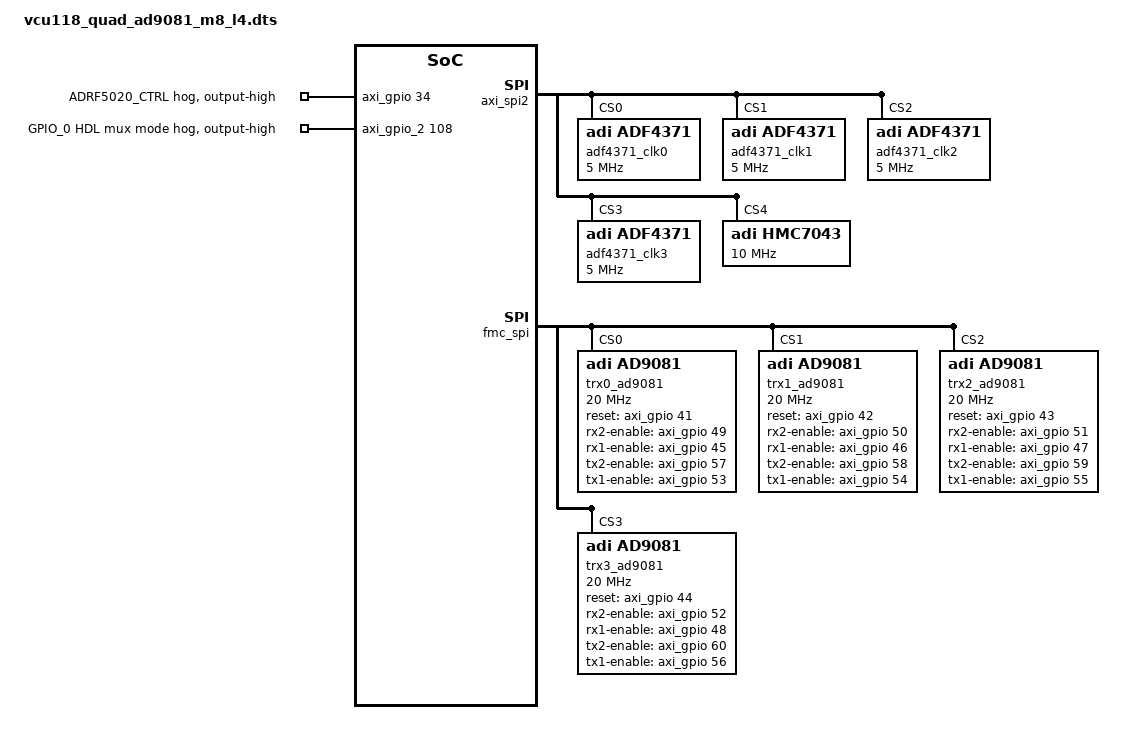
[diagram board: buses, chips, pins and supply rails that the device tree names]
// SPDX-License-Identifier: GPL-2.0
/*
 * dts file for QUAD AD9081-FMC-EBZ on Xilinx ZynqMP ZCU102 Rev 1.0
 *
 * Copyright (C) 2019 Analog Devices Inc.
 */

#include <dt-bindings/iio/frequency/hmc7044.h>
#include <dt-bindings/iio/adc/adi,ad9081.h>
#include <dt-bindings/gpio/gpio.h>

#include "vcu118_quad_ad9081.dtsi"

#define ADRF4360_RF16_FREQUENCY_HZ 12000000000
//#define ADRF4360_RF16_FREQUENCY_HZ 500000000

#define HMC7043_FPGA_XCVR_CLKDIV		1
#define HMC7043_FPGA_LINK_CLKDIV		2
#define HMC7043_SYSREF_CLKDIV			256
#define HMC7043_SYSREF_TIMER			(HMC7043_SYSREF_CLKDIV * 4)


#define AD9081_DAC_FREQUENCY 			ADRF4360_RF16_FREQUENCY_HZ
#define AD9081_ADC_FREQUENCY			4000000000

 /* TX path */
#define AD9081_TX_MAIN_INTERPOLATION	6
#define AD9081_TX_CHAN_INTERPOLATION	8
#define AD9081_TX_MAIN_NCO_SHIFT		2800000000
#define AD9081_TX_CHAN_NCO_SHIFT		0

#define AD9081_GAIN						2048

#define AD9081_TX_JESD_MODE				9
#define AD9081_TX_JESD_SUBCLASS			1
#define AD9081_TX_JESD_VERSION			1
#define AD9081_TX_JESD_M				8
#define AD9081_TX_JESD_F				4
#define AD9081_TX_JESD_K				32
#define AD9081_TX_JESD_N				16
#define AD9081_TX_JESD_NP				16
#define AD9081_TX_JESD_CS				0
#define AD9081_TX_JESD_L				4
#define AD9081_TX_JESD_S				1
#define AD9081_TX_JESD_HD				1

/* RX path */
#define AD9081_RX_MAIN_DECIMATION		4
#define AD9081_RX_CHAN_DECIMATION		4
#define AD9081_RX_MAIN_NCO_SHIFT		1000000000
#define AD9081_RX_CHAN_NCO_SHIFT		0

#define AD9081_RX_JESD_MODE				10
#define AD9081_RX_JESD_SUBCLASS			1
#define AD9081_RX_JESD_VERSION			1
#define AD9081_RX_JESD_M				8
#define AD9081_RX_JESD_F				4
#define AD9081_RX_JESD_K				32
#define AD9081_RX_JESD_N				16
#define AD9081_RX_JESD_NP				16
#define AD9081_RX_JESD_CS				0
#define AD9081_RX_JESD_L				4
#define AD9081_RX_JESD_S				1
#define AD9081_RX_JESD_HD				1

/* Interface */

#define AD9081_SPI_MAX_SPEED_HZ			20000000

/ {
	clocks {
		clkin_j41: clock@0 {
			#clock-cells = <0>;
			compatible = "fixed-clock";
			clock-frequency = <500000000>;
			clock-output-names = "refclk_j41";
		};
	};
};

&axi_gpio {
	adrf5020_ctrl {
		gpio-hog;
		gpios = <34 GPIO_ACTIVE_HIGH>;
		output-high; /* output-low for the RF2 <-> clk-rfaux8 output */
		line-name = "ADRF5020_CTRL";
	};
};

&axi_gpio_2 {
	ad9081_gpio0_mux {
		gpio-hog;
		gpios = <108 GPIO_ACTIVE_HIGH>;
		output-high; /* output-high gpio_mode - connect GPIO_0 of MxFE3 (output) to GPIO_0 of MxFE0,1,2 (input) */
		line-name = "GPIO_0 HDL mux mode";
	};
};

&axi_ad9081_rx_jesd {
	adi,octets-per-frame = <AD9081_RX_JESD_F>;
	adi,frames-per-multiframe = <AD9081_RX_JESD_K>;
};

&axi_ad9081_tx_jesd {
	adi,converters-per-device = <32>;
	adi,octets-per-frame = <AD9081_TX_JESD_F>;
	adi,frames-per-multiframe = <AD9081_TX_JESD_K>;
	adi,converter-resolution = <AD9081_TX_JESD_N>;
	adi,bits-per-sample = <AD9081_TX_JESD_NP>;
	adi,control-bits-per-sample = <AD9081_TX_JESD_CS>;
};

&rx_dma {
	adi,channels {
		dma-channel@0 {
			reg = <0>;
			adi,source-bus-width = <512>; /* Needs to be 32 * JESD_L */
			adi,source-bus-type = <2>;
			adi,destination-bus-width = <512>;  /* Needs to be 32 * JESD_L */
			adi,destination-bus-type = <0>;
		};
	};
};

&tx_dma {
	adi,channels {
		dma-channel@0 {
			reg = <0>;
			adi,source-bus-width = <512>; /* Needs to be 32 * JESD_L */
			adi,source-bus-type = <0>;
			adi,destination-bus-width = <512>; /* Needs to be 32 * JESD_L */
			adi,destination-bus-type = <2>;
		};
	};
};

&axi_spi2 {

	adf4371_clk0: adf4371-0@0 {
		compatible = "adi,adf4371";
		reg = <0>;

		#address-cells = <1>;
		#clock-cells = <1>;
		#size-cells = <0>;

		spi-max-frequency = <5000000>;
		adi,spi-3wire-enable;
		adi,muxout-select = <1>;
		clocks = <&clkin_j41>;
		clock-names = "clkin";
		clock-output-names = "pll0-clk-rf8", "pll0-clk-rfaux8",
			"pll0-clk-rf16", "pll0-clk-rf32";

		channel@2 {
			reg = <2>;
			adi,power-up-frequency = /bits/ 64 <ADRF4360_RF16_FREQUENCY_HZ>;
		};
	};

	adf4371_clk1: adf4371-1@1 {
		compatible = "adi,adf4371";
		reg = <1>;

		#address-cells = <1>;
		#clock-cells = <1>;
		#size-cells = <0>;

		spi-max-frequency = <5000000>;
		adi,spi-3wire-enable;
		adi,muxout-select = <1>;
		clocks = <&clkin_j41>;
		clock-names = "clkin";
		clock-output-names = "pll1-clk-rf8", "pll1-clk-rfaux8",
			"pll1-clk-rf16", "pll1-clk-rf32";

		channel@2 {
			reg = <2>;
			adi,power-up-frequency = /bits/ 64 <ADRF4360_RF16_FREQUENCY_HZ>;
		};
	};

	adf4371_clk2: adf4371-2@2 {
		compatible = "adi,adf4371";
		reg = <2>;

		#address-cells = <1>;
		#clock-cells = <1>;
		#size-cells = <0>;

		spi-max-frequency = <5000000>;
		adi,spi-3wire-enable;
		adi,muxout-select = <1>;
		clocks = <&clkin_j41>;
		clock-names = "clkin";
		clock-output-names = "pll2-clk-rf8", "pll2-clk-rfaux8",
			"pll2-clk-rf16", "pll2-clk-rf32";

		channel@2 {
			reg = <2>;
			adi,power-up-frequency = /bits/ 64 <ADRF4360_RF16_FREQUENCY_HZ>;
		};
	};

	adf4371_clk3: adf4371-3@3 {
		compatible = "adi,adf4371";
		reg = <3>;

		#address-cells = <1>;
		#clock-cells = <1>;
		#size-cells = <0>;

		spi-max-frequency = <5000000>;
		adi,spi-3wire-enable;
		adi,muxout-select = <1>;
		clocks = <&clkin_j41>;
		clock-names = "clkin";
		clock-output-names = "pll3-clk-rf8", "pll3-clk-rfaux8",
			"pll3-clk-rf16", "pll3-clk-rf32";

		channel@2 {
			reg = <2>;
			adi,power-up-frequency = /bits/ 64 <ADRF4360_RF16_FREQUENCY_HZ>;
		};
	};

	hmc7043: hmc7043@4 {
		#address-cells = <1>;
		#size-cells = <0>;
		#clock-cells = <1>;
		compatible = "adi,hmc7043";
		reg = <4>;
		spi-max-frequency = <10000000>;

		clocks = <&clkin_j41>;
		clock-names = "clkin0";

		adi,sysref-timer-divider = <HMC7043_SYSREF_TIMER>;
		adi,pulse-generator-mode = <HMC7044_PULSE_GEN_CONT_PULSE>;

		adi,rf-reseeder-disable;

		adi,clkin0-buffer-mode  = <0x07>; /* RFSYNC */
		adi,clkin1-buffer-mode  = <0x07>; /* CLKIN 500 MHz */

		adi,gpi-controls = <0x00>;
		adi,gpo-controls = <0x37>;

		clock-output-names =
			"hmc7043_out0", "hmc7043_out1", "hmc7043_out2",
			"hmc7043_out3", "hmc7043_out4", "hmc7043_out5",
			"hmc7043_out6", "hmc7043_out7", "hmc7043_out8",
			"hmc7043_out9", "hmc7043_out10", "hmc7043_out11",
			"hmc7043_out12", "hmc7043_out13";

		hmc7043_c0: channel@0 {
			reg = <0>;
			adi,extended-name = "FPGA_REFCLK";
			adi,divider = <HMC7043_FPGA_XCVR_CLKDIV>;
			adi,driver-mode = <HMC7044_DRIVER_MODE_LVDS>;
		};

		hmc7043_c8: channel@8 {
			reg = <8>;
			adi,extended-name = "CORE_LINK_CLK";
			adi,divider = <HMC7043_FPGA_LINK_CLKDIV>;
			adi,driver-mode = <HMC7044_DRIVER_MODE_LVDS>;
		};

		hmc7043_c1: channel@1 {
			reg = <1>;
			adi,extended-name = "SYSREF_MXFE0";
			adi,divider = <HMC7043_SYSREF_CLKDIV>;
			adi,driver-mode = <HMC7044_DRIVER_MODE_LVDS>;
			adi,startup-mode-dynamic-enable;
			adi,high-performance-mode-disable;

			adi,coarse-digital-delay = <0>;
			adi,fine-analog-delay = <24>; /* max analog */
			adi,output-mux-mode = <1>;
		};

		hmc7043_c3: channel@3 {
			reg = <3>;
			adi,extended-name = "SYSREF_MXFE1";
			adi,divider = <HMC7043_SYSREF_CLKDIV>;
			adi,driver-mode = <HMC7044_DRIVER_MODE_LVDS>;
			adi,startup-mode-dynamic-enable;
			adi,high-performance-mode-disable;

			adi,coarse-digital-delay = <1>; /* 1 ns */
			adi,fine-analog-delay = <0>;
			adi,output-mux-mode = <0>;
		};

		hmc7043_c5: channel@5 {
			reg = <5>;
			adi,extended-name = "SYSREF_MXFE2";
			adi,divider = <HMC7043_SYSREF_CLKDIV>;
			adi,driver-mode = <HMC7044_DRIVER_MODE_LVDS>;
			adi,startup-mode-dynamic-enable;
			adi,high-performance-mode-disable;

			adi,coarse-digital-delay = <0>;
			adi,fine-analog-delay = <16>;
			adi,output-mux-mode = <1>;
		};

		hmc7043_c7: channel@7 {
			reg = <7>;
			adi,extended-name = "SYSREF_MXFE3";
			adi,divider = <HMC7043_SYSREF_CLKDIV>;
			adi,driver-mode = <HMC7044_DRIVER_MODE_LVDS>;
			adi,startup-mode-dynamic-enable;
			adi,high-performance-mode-disable;

			adi,coarse-digital-delay = <0>;
			adi,fine-analog-delay = <0>;
			adi,output-mux-mode = <0>;
		};

		hmc7043_c9: channel@9 {
			reg = <9>;
			adi,extended-name = "SYSREF_FPGA";
			adi,divider = <HMC7043_SYSREF_CLKDIV>;
			adi,driver-mode = <HMC7044_DRIVER_MODE_LVDS>;
			adi,startup-mode-dynamic-enable;
			adi,high-performance-mode-disable;
		};
	};
};

&fmc_spi {

	trx0_ad9081: axi-ad9081-rx-0@0 {
		#address-cells = <1>;
		#size-cells = <0>;
		compatible = "adi,ad9081";
		reg = <0>;
		spi-max-frequency = <AD9081_SPI_MAX_SPEED_HZ>;

		/* Clocks */
		clocks =
			<&adf4371_clk0 2>, <&hmc7043 8>, <&hmc7043 1>, <&hmc7043 9>;

		clock-names =
			"dev_clk", "fmc_clk", "sysref_dev_clk",
			"sysref_fmc_clk";

		clock-output-names = "rx_sampl_clk", "tx_sampl_clk";
		#clock-cells = <1>;
		dev_clk-clock-scales = <1 10>;

		adi,jesd-sync-pins-01-swap-enable;
		//adi,lmfc-delay-dac-clk-cycles = <14>;

		adi,tx-dacs {
			#size-cells = <0>;
			#address-cells = <1>;

			adi,dac-frequency-hz = /bits/ 64 <AD9081_DAC_FREQUENCY>;

			adi,main-data-paths {
				#address-cells = <1>;
				#size-cells = <0>;

				adi,interpolation = <AD9081_TX_MAIN_INTERPOLATION>;

				trx0_ad9081_dac0: dac@0 {
					reg = <0>;
					adi,crossbar-select = <&trx0_ad9081_tx_fddc_chan0>;
					adi,nco-frequency-shift-hz = /bits/ 64 <AD9081_TX_MAIN_NCO_SHIFT>; /* 100 MHz */
				};
				trx0_ad9081_dac1: dac@1 {
					reg = <1>;
					adi,crossbar-select = <&trx0_ad9081_tx_fddc_chan1>;
					adi,nco-frequency-shift-hz = /bits/ 64 <AD9081_TX_MAIN_NCO_SHIFT>; /* 200 MHz */
				};
				trx0_ad9081_dac2: dac@2 {
					reg = <2>;
					adi,crossbar-select = <&trx0_ad9081_tx_fddc_chan2>; /* All 4 channels @ dac2 */
					adi,nco-frequency-shift-hz = /bits/ 64 <AD9081_TX_MAIN_NCO_SHIFT>;  /* 300 MHz */
				};
				trx0_ad9081_dac3: dac@3 {
					reg = <3>;
					adi,crossbar-select = <&trx0_ad9081_tx_fddc_chan3>; /* All 4 channels @ dac2 */
					adi,nco-frequency-shift-hz = /bits/ 64 <AD9081_TX_MAIN_NCO_SHIFT>; /* 400 MHz */
				};
			};

			adi,channelizer-paths {
				#address-cells = <1>;
				#size-cells = <0>;
				adi,interpolation = <AD9081_TX_CHAN_INTERPOLATION>;

				trx0_ad9081_tx_fddc_chan0: channel@0 {
					reg = <0>;
					adi,gain = <AD9081_GAIN>; /* value * 10^(gain_dB/20) */
					adi,nco-frequency-shift-hz =  /bits/ 64 <AD9081_TX_CHAN_NCO_SHIFT>;

				};
				trx0_ad9081_tx_fddc_chan1: channel@1 {
					reg = <1>;
					adi,gain = <AD9081_GAIN>; /* value * 10^(gain_dB/20) */
					adi,nco-frequency-shift-hz =  /bits/ 64 <AD9081_TX_CHAN_NCO_SHIFT>;

				};
				trx0_ad9081_tx_fddc_chan2: channel@2 {
					reg = <2>;
					adi,gain = <AD9081_GAIN>; /* value * 10^(gain_dB/20) */
					adi,nco-frequency-shift-hz =  /bits/ 64 <AD9081_TX_CHAN_NCO_SHIFT>;

				};
				trx0_ad9081_tx_fddc_chan3: channel@3 {
					reg = <3>;
					adi,gain = <AD9081_GAIN>; /* value * 10^(gain_dB/20) */
					adi,nco-frequency-shift-hz =  /bits/ 64 <AD9081_TX_CHAN_NCO_SHIFT>;

				};

			};

			adi,jesd-links {
				#size-cells = <0>;
				#address-cells = <1>;

				trx0_ad9081_tx_jesd_l0: link@0 {
					#address-cells = <1>;
					#size-cells = <0>;
					reg = <0>;

					adi,logical-lane-mapping = /bits/ 8 <0 1 2 3 4 5 6 7>;

					adi,link-mode = <AD9081_TX_JESD_MODE>;			/* JESD Quick Configuration Mode */
					adi,subclass = <AD9081_TX_JESD_SUBCLASS>;			/* JESD SUBCLASS 0,1,2 */
					adi,version = <AD9081_TX_JESD_VERSION>;			/* JESD VERSION 0=204A,1=204B,2=204C */
					adi,dual-link = <0>;			/* JESD Dual Link Mode */

					adi,converters-per-device = <AD9081_TX_JESD_M>;	/* JESD M */
					adi,octets-per-frame = <AD9081_TX_JESD_F>;		/* JESD F */

					adi,frames-per-multiframe = <AD9081_TX_JESD_K>;	/* JESD K */
					adi,converter-resolution = <AD9081_TX_JESD_N>;	/* JESD N */
					adi,bits-per-sample = <AD9081_TX_JESD_N>;		/* JESD NP' */
					adi,control-bits-per-sample = <AD9081_TX_JESD_CS>;	/* JESD CS */
					adi,lanes-per-device = <AD9081_TX_JESD_L>;		/* JESD L */
					adi,samples-per-converter-per-frame = <AD9081_TX_JESD_S>; /* JESD S */
					adi,high-density = <AD9081_TX_JESD_HD>;			/* JESD HD */
				};
			};
		};

		adi,rx-adcs {
			#size-cells = <0>;
			#address-cells = <1>;

			adi,adc-frequency-hz = /bits/ 64 <AD9081_ADC_FREQUENCY>;
			adi,nyquist-zone = <AD9081_ADC_NYQUIST_ZONE_EVEN>;

			adi,main-data-paths {
				#address-cells = <1>;
				#size-cells = <0>;


				trx0_ad9081_adc0: adc@0 {
					reg = <0>;
					adi,decimation = <AD9081_RX_MAIN_DECIMATION>;
					adi,nco-frequency-shift-hz =  /bits/ 64 <AD9081_RX_MAIN_NCO_SHIFT>;
					adi,nco-mode = <AD9081_ADC_NCO_VIF>;
					//adi,crossbar-select = <&trx0_ad9081_rx_fddc_chan0>, <&trx0_ad9081_rx_fddc_chan2>; /* Static for now */
				};
				trx0_ad9081_adc1: adc@1 {
					reg = <1>;
					adi,decimation = <AD9081_RX_MAIN_DECIMATION>;
					adi,nco-frequency-shift-hz =  /bits/ 64 <(AD9081_RX_MAIN_NCO_SHIFT)>;
					adi,nco-mode = <AD9081_ADC_NCO_VIF>;
					//adi,crossbar-select = <&trx0_ad9081_rx_fddc_chan1>, <&trx0_ad9081_rx_fddc_chan3>; /* Static for now */
				};
				trx0_ad9081_adc2: adc@2 {
					reg = <2>;
					adi,decimation = <AD9081_RX_MAIN_DECIMATION>;
					adi,nco-frequency-shift-hz =  /bits/ 64 <AD9081_RX_MAIN_NCO_SHIFT>;
					adi,nco-mode = <AD9081_ADC_NCO_VIF>;
					//adi,crossbar-select = <&trx0_ad9081_rx_fddc_chan4>, <&trx0_ad9081_rx_fddc_chan6>; /* Static for now */
				};
				trx0_ad9081_adc3: adc@3 {
					reg = <3>;
					adi,decimation = <AD9081_RX_MAIN_DECIMATION>;
					adi,nco-frequency-shift-hz =  /bits/ 64 <AD9081_RX_MAIN_NCO_SHIFT>;
					adi,nco-mode = <AD9081_ADC_NCO_VIF>;
					//adi,crossbar-select = <&trx0_ad9081_rx_fddc_chan5>, <&trx0_ad9081_rx_fddc_chan7>; /* Static for now */
				};
			};

			adi,channelizer-paths {
				#address-cells = <1>;
				#size-cells = <0>;


				trx0_ad9081_rx_fddc_chan0: channel@0 {
					reg = <0>;
					adi,decimation = <AD9081_RX_CHAN_DECIMATION>;
					adi,gain = <AD9081_GAIN>; /* value * 10^(gain_dB/20) */
					adi,nco-frequency-shift-hz =  /bits/ 64 <AD9081_RX_CHAN_NCO_SHIFT>;

				};
				trx0_ad9081_rx_fddc_chan1: channel@1 {
					reg = <1>;
					adi,decimation = <AD9081_RX_CHAN_DECIMATION>;
					adi,gain = <AD9081_GAIN>; /* value * 10^(gain_dB/20) */
					adi,nco-frequency-shift-hz =  /bits/ 64 <AD9081_RX_CHAN_NCO_SHIFT>;

				};
				trx0_ad9081_rx_fddc_chan4: channel@4 {
					reg = <4>;
					adi,decimation = <AD9081_RX_CHAN_DECIMATION>;
					adi,gain = <AD9081_GAIN>; /* value * 10^(gain_dB/20) */
					adi,nco-frequency-shift-hz =  /bits/ 64 <AD9081_RX_CHAN_NCO_SHIFT>;

				};
				trx0_ad9081_rx_fddc_chan5: channel@5 {
					reg = <5>;
					adi,decimation = <AD9081_RX_CHAN_DECIMATION>;
					adi,gain = <AD9081_GAIN>; /* value * 10^(gain_dB/20) */
					adi,nco-frequency-shift-hz =  /bits/ 64 <AD9081_RX_CHAN_NCO_SHIFT>;

				};
			};

			adi,jesd-links {
				#size-cells = <0>;
				#address-cells = <1>;

				trx0_ad9081_rx_jesd_l0: link@0 {
					reg = <0>;
					adi,converter-select =
						<&trx0_ad9081_rx_fddc_chan0 FDDC_I>, <&trx0_ad9081_rx_fddc_chan0 FDDC_Q>,
						<&trx0_ad9081_rx_fddc_chan1 FDDC_I>, <&trx0_ad9081_rx_fddc_chan1 FDDC_Q>,
						<&trx0_ad9081_rx_fddc_chan4 FDDC_I>, <&trx0_ad9081_rx_fddc_chan4 FDDC_Q>,
						<&trx0_ad9081_rx_fddc_chan5 FDDC_I>, <&trx0_ad9081_rx_fddc_chan5 FDDC_Q>;

					adi,logical-lane-mapping = /bits/ 8 <0 1 2 3 4 5 6 7>;

					adi,link-mode = <AD9081_RX_JESD_MODE>;			/* JESD Quick Configuration Mode */
					adi,subclass = <AD9081_RX_JESD_SUBCLASS>;			/* JESD SUBCLASS 0,1,2 */
					adi,version = <AD9081_RX_JESD_VERSION>;			/* JESD VERSION 0=204A,1=204B,2=204C */
					adi,dual-link = <0>;			/* JESD Dual Link Mode */
					adi,device-id = <0>;

					adi,converters-per-device = <AD9081_RX_JESD_M>;	/* JESD M */
					adi,octets-per-frame = <AD9081_RX_JESD_F>;		/* JESD F */

					adi,frames-per-multiframe = <AD9081_RX_JESD_K>;	/* JESD K */
					adi,converter-resolution = <AD9081_RX_JESD_N>;	/* JESD N */
					adi,bits-per-sample = <AD9081_RX_JESD_NP>;		/* JESD NP' */
					adi,control-bits-per-sample = <AD9081_RX_JESD_CS>;	/* JESD CS */
					adi,lanes-per-device = <AD9081_RX_JESD_L>;		/* JESD L */
					adi,samples-per-converter-per-frame = <AD9081_RX_JESD_S>; /* JESD S */
					adi,high-density = <AD9081_RX_JESD_HD>;			/* JESD HD */
				};
			};
		};
	};

	trx1_ad9081: axi-ad9081-rx-1@1 {
		#address-cells = <1>;
		#size-cells = <0>;
		compatible = "adi,ad9081";
		reg = <1>;
		spi-max-frequency = <AD9081_SPI_MAX_SPEED_HZ>;

		/* Clocks */
		clocks =
			<&adf4371_clk1 2>, <&hmc7043 8>, <&hmc7043 1>, <&hmc7043 9>;

		clock-names =
			"dev_clk", "fmc_clk", "sysref_dev_clk",
			"sysref_fmc_clk";

		clock-output-names = "rx_sampl_clk", "tx_sampl_clk";
		#clock-cells = <1>;
		dev_clk-clock-scales = <1 10>;

		adi,jesd-sync-pins-01-swap-enable;
		//adi,lmfc-delay-dac-clk-cycles = <16>;

		adi,tx-dacs {
			#size-cells = <0>;
			#address-cells = <1>;

			adi,dac-frequency-hz = /bits/ 64 <AD9081_DAC_FREQUENCY>;

			adi,main-data-paths {
				#address-cells = <1>;
				#size-cells = <0>;

				adi,interpolation = <AD9081_TX_MAIN_INTERPOLATION>;

				trx1_ad9081_dac0: dac@0 {
					reg = <0>;
					adi,crossbar-select = <&trx1_ad9081_tx_fddc_chan0>;
					adi,nco-frequency-shift-hz = /bits/ 64 <AD9081_TX_MAIN_NCO_SHIFT>; /* 100 MHz */
				};
				trx1_ad9081_dac1: dac@1 {
					reg = <1>;
					adi,crossbar-select = <&trx1_ad9081_tx_fddc_chan1>;
					adi,nco-frequency-shift-hz = /bits/ 64 <AD9081_TX_MAIN_NCO_SHIFT>; /* 200 MHz */
				};
				trx1_ad9081_dac2: dac@2 {
					reg = <2>;
					adi,crossbar-select = <&trx1_ad9081_tx_fddc_chan2>; /* All 4 channels @ dac2 */
					adi,nco-frequency-shift-hz = /bits/ 64 <AD9081_TX_MAIN_NCO_SHIFT>;  /* 300 MHz */
				};
				trx1_ad9081_dac3: dac@3 {
					reg = <3>;
					adi,crossbar-select = <&trx1_ad9081_tx_fddc_chan3>; /* All 4 channels @ dac2 */
					adi,nco-frequency-shift-hz = /bits/ 64 <AD9081_TX_MAIN_NCO_SHIFT>; /* 400 MHz */
				};
			};

			adi,channelizer-paths {
				#address-cells = <1>;
				#size-cells = <0>;
				adi,interpolation = <AD9081_TX_CHAN_INTERPOLATION>;

				trx1_ad9081_tx_fddc_chan0: channel@0 {
					reg = <0>;
					adi,gain = <AD9081_GAIN>; /* value * 10^(gain_dB/20) */
					adi,nco-frequency-shift-hz =  /bits/ 64 <AD9081_TX_CHAN_NCO_SHIFT>;

				};
				trx1_ad9081_tx_fddc_chan1: channel@1 {
					reg = <1>;
					adi,gain = <AD9081_GAIN>; /* value * 10^(gain_dB/20) */
					adi,nco-frequency-shift-hz =  /bits/ 64 <AD9081_TX_CHAN_NCO_SHIFT>;

				};
				trx1_ad9081_tx_fddc_chan2: channel@2 {
					reg = <2>;
					adi,gain = <AD9081_GAIN>; /* value * 10^(gain_dB/20) */
					adi,nco-frequency-shift-hz =  /bits/ 64 <AD9081_TX_CHAN_NCO_SHIFT>;

				};
				trx1_ad9081_tx_fddc_chan3: channel@3 {
					reg = <3>;
					adi,gain = <AD9081_GAIN>; /* value * 10^(gain_dB/20) */
					adi,nco-frequency-shift-hz =  /bits/ 64 <AD9081_TX_CHAN_NCO_SHIFT>;

				};

			};

			adi,jesd-links {
				#size-cells = <0>;
				#address-cells = <1>;

				trx1_ad9081_tx_jesd_l0: link@0 {
					#address-cells = <1>;
					#size-cells = <0>;
					reg = <0>;

					adi,logical-lane-mapping = /bits/ 8 <0 1 2 3 4 5 6 7>;

					adi,link-mode = <AD9081_TX_JESD_MODE>;			/* JESD Quick Configuration Mode */
					adi,subclass = <AD9081_TX_JESD_SUBCLASS>;			/* JESD SUBCLASS 0,1,2 */
					adi,version = <AD9081_TX_JESD_VERSION>;			/* JESD VERSION 0=204A,1=204B,2=204C */
					adi,dual-link = <0>;			/* JESD Dual Link Mode */

					adi,converters-per-device = <AD9081_TX_JESD_M>;	/* JESD M */
					adi,octets-per-frame = <AD9081_TX_JESD_F>;		/* JESD F */

					adi,frames-per-multiframe = <AD9081_TX_JESD_K>;	/* JESD K */
					adi,converter-resolution = <AD9081_TX_JESD_N>;	/* JESD N */
					adi,bits-per-sample = <AD9081_TX_JESD_N>;		/* JESD NP' */
					adi,control-bits-per-sample = <AD9081_TX_JESD_CS>;	/* JESD CS */
					adi,lanes-per-device = <AD9081_TX_JESD_L>;		/* JESD L */
					adi,samples-per-converter-per-frame = <AD9081_TX_JESD_S>; /* JESD S */
					adi,high-density = <AD9081_TX_JESD_HD>;			/* JESD HD */
				};
			};
		};

		adi,rx-adcs {
			#size-cells = <0>;
			#address-cells = <1>;

			adi,adc-frequency-hz = /bits/ 64 <AD9081_ADC_FREQUENCY>;
			adi,nyquist-zone = <AD9081_ADC_NYQUIST_ZONE_EVEN>;

			adi,main-data-paths {
				#address-cells = <1>;
				#size-cells = <0>;


				trx1_ad9081_adc0: adc@0 {
					reg = <0>;
					adi,decimation = <AD9081_RX_MAIN_DECIMATION>;
					adi,nco-frequency-shift-hz =  /bits/ 64 <AD9081_RX_MAIN_NCO_SHIFT>;
					adi,nco-mode = <AD9081_ADC_NCO_VIF>;
					//adi,crossbar-select = <&trx1_ad9081_rx_fddc_chan0>, <&trx1_ad9081_rx_fddc_chan2>; /* Static for now */
				};
				trx1_ad9081_adc1: adc@1 {
					reg = <1>;
					adi,decimation = <AD9081_RX_MAIN_DECIMATION>;
					adi,nco-frequency-shift-hz =  /bits/ 64 <AD9081_RX_MAIN_NCO_SHIFT>;
					adi,nco-mode = <AD9081_ADC_NCO_VIF>;
					//adi,crossbar-select = <&trx1_ad9081_rx_fddc_chan1>, <&trx1_ad9081_rx_fddc_chan3>; /* Static for now */
				};
				trx1_ad9081_adc2: adc@2 {
					reg = <2>;
					adi,decimation = <AD9081_RX_MAIN_DECIMATION>;
					adi,nco-frequency-shift-hz =  /bits/ 64 <AD9081_RX_MAIN_NCO_SHIFT>;
					adi,nco-mode = <AD9081_ADC_NCO_VIF>;
					//adi,crossbar-select = <&trx1_ad9081_rx_fddc_chan4>, <&trx1_ad9081_rx_fddc_chan6>; /* Static for now */
				};
				trx1_ad9081_adc3: adc@3 {
					reg = <3>;
					adi,decimation = <AD9081_RX_MAIN_DECIMATION>;
					adi,nco-frequency-shift-hz =  /bits/ 64 <AD9081_RX_MAIN_NCO_SHIFT>;
					adi,nco-mode = <AD9081_ADC_NCO_VIF>;
					//adi,crossbar-select = <&trx1_ad9081_rx_fddc_chan5>, <&trx1_ad9081_rx_fddc_chan7>; /* Static for now */
				};
			};

			adi,channelizer-paths {
				#address-cells = <1>;
				#size-cells = <0>;


				trx1_ad9081_rx_fddc_chan0: channel@0 {
					reg = <0>;
					adi,decimation = <AD9081_RX_CHAN_DECIMATION>;
					adi,gain = <AD9081_GAIN>; /* value * 10^(gain_dB/20) */
					adi,nco-frequency-shift-hz =  /bits/ 64 <AD9081_RX_CHAN_NCO_SHIFT>;

				};
				trx1_ad9081_rx_fddc_chan1: channel@1 {
					reg = <1>;
					adi,decimation = <AD9081_RX_CHAN_DECIMATION>;
					adi,gain = <AD9081_GAIN>; /* value * 10^(gain_dB/20) */
					adi,nco-frequency-shift-hz =  /bits/ 64 <AD9081_RX_CHAN_NCO_SHIFT>;

				};
				trx1_ad9081_rx_fddc_chan4: channel@4 {
					reg = <4>;
					adi,decimation = <AD9081_RX_CHAN_DECIMATION>;
					adi,gain = <AD9081_GAIN>; /* value * 10^(gain_dB/20) */
					adi,nco-frequency-shift-hz =  /bits/ 64 <AD9081_RX_CHAN_NCO_SHIFT>;

				};
				trx1_ad9081_rx_fddc_chan5: channel@5 {
					reg = <5>;
					adi,decimation = <AD9081_RX_CHAN_DECIMATION>;
					adi,gain = <AD9081_GAIN>; /* value * 10^(gain_dB/20) */
					adi,nco-frequency-shift-hz =  /bits/ 64 <AD9081_RX_CHAN_NCO_SHIFT>;

				};
			};

			adi,jesd-links {
				#size-cells = <0>;
				#address-cells = <1>;

				trx1_ad9081_rx_jesd_l0: link@0 {
					reg = <0>;
					adi,converter-select =
						<&trx1_ad9081_rx_fddc_chan0 FDDC_I>, <&trx1_ad9081_rx_fddc_chan0 FDDC_Q>,
						<&trx1_ad9081_rx_fddc_chan1 FDDC_I>, <&trx1_ad9081_rx_fddc_chan1 FDDC_Q>,
						<&trx1_ad9081_rx_fddc_chan4 FDDC_I>, <&trx1_ad9081_rx_fddc_chan4 FDDC_Q>,
						<&trx1_ad9081_rx_fddc_chan5 FDDC_I>, <&trx1_ad9081_rx_fddc_chan5 FDDC_Q>;

					adi,logical-lane-mapping = /bits/ 8 <0 1 2 3 4 5 6 7>;

					adi,link-mode = <AD9081_RX_JESD_MODE>;			/* JESD Quick Configuration Mode */
					adi,subclass = <AD9081_RX_JESD_SUBCLASS>;			/* JESD SUBCLASS 0,1,2 */
					adi,version = <AD9081_RX_JESD_VERSION>;			/* JESD VERSION 0=204A,1=204B,2=204C */
					adi,dual-link = <0>;			/* JESD Dual Link Mode */
					adi,device-id = <1>;

					adi,converters-per-device = <AD9081_RX_JESD_M>;	/* JESD M */
					adi,octets-per-frame = <AD9081_RX_JESD_F>;		/* JESD F */

					adi,frames-per-multiframe = <AD9081_RX_JESD_K>;	/* JESD K */
					adi,converter-resolution = <AD9081_RX_JESD_N>;	/* JESD N */
					adi,bits-per-sample = <AD9081_RX_JESD_NP>;		/* JESD NP' */
					adi,control-bits-per-sample = <AD9081_RX_JESD_CS>;	/* JESD CS */
					adi,lanes-per-device = <AD9081_RX_JESD_L>;		/* JESD L */
					adi,samples-per-converter-per-frame = <AD9081_RX_JESD_S>; /* JESD S */
					adi,high-density = <AD9081_RX_JESD_HD>;			/* JESD HD */
				};
			};
		};
	};

	trx2_ad9081: axi-ad9081-rx-2@2 {
		#address-cells = <1>;
		#size-cells = <0>;
		compatible = "adi,ad9081";
		reg = <2>;
		spi-max-frequency = <AD9081_SPI_MAX_SPEED_HZ>;

		/* Clocks */
		clocks = <&adf4371_clk2 2>, <&hmc7043 8>, <&hmc7043 1>, <&hmc7043 9>;

		clock-names = "dev_clk", "fmc_clk", "sysref_dev_clk",
			"sysref_fmc_clk";

		clock-output-names = "rx_sampl_clk", "tx_sampl_clk";
		#clock-cells = <1>;
		dev_clk-clock-scales = <1 10>;

		adi,jesd-sync-pins-01-swap-enable;
		//adi,lmfc-delay-dac-clk-cycles = <9>;

		adi,tx-dacs {
			#size-cells = <0>;
			#address-cells = <1>;

			adi,dac-frequency-hz = /bits/ 64 <AD9081_DAC_FREQUENCY>;

			adi,main-data-paths {
				#address-cells = <1>;
				#size-cells = <0>;

				adi,interpolation = <AD9081_TX_MAIN_INTERPOLATION>;

				trx2_ad9081_dac0: dac@0 {
					reg = <0>;
					adi,crossbar-select = <&trx2_ad9081_tx_fddc_chan0>;
					adi,nco-frequency-shift-hz = /bits/ 64 <AD9081_TX_MAIN_NCO_SHIFT>; /* 100 MHz */
				};
				trx2_ad9081_dac1: dac@1 {
					reg = <1>;
					adi,crossbar-select = <&trx2_ad9081_tx_fddc_chan1>;
					adi,nco-frequency-shift-hz = /bits/ 64 <AD9081_TX_MAIN_NCO_SHIFT>; /* 200 MHz */
				};
				trx2_ad9081_dac2: dac@2 {
					reg = <2>;
					adi,crossbar-select = <&trx2_ad9081_tx_fddc_chan2>; /* All 4 channels @ dac2 */
					adi,nco-frequency-shift-hz = /bits/ 64 <AD9081_TX_MAIN_NCO_SHIFT>;  /* 300 MHz */
				};
				trx2_ad9081_dac3: dac@3 {
					reg = <3>;
					adi,crossbar-select = <&trx2_ad9081_tx_fddc_chan3>; /* All 4 channels @ dac2 */
					adi,nco-frequency-shift-hz = /bits/ 64 <AD9081_TX_MAIN_NCO_SHIFT>; /* 400 MHz */
				};
			};

			adi,channelizer-paths {
				#address-cells = <1>;
				#size-cells = <0>;
				adi,interpolation = <AD9081_TX_CHAN_INTERPOLATION>;

				trx2_ad9081_tx_fddc_chan0: channel@0 {
					reg = <0>;
					adi,gain = <AD9081_GAIN>; /* value * 10^(gain_dB/20) */
					adi,nco-frequency-shift-hz =  /bits/ 64 <AD9081_TX_CHAN_NCO_SHIFT>;

				};
				trx2_ad9081_tx_fddc_chan1: channel@1 {
					reg = <1>;
					adi,gain = <AD9081_GAIN>; /* value * 10^(gain_dB/20) */
					adi,nco-frequency-shift-hz =  /bits/ 64 <AD9081_TX_CHAN_NCO_SHIFT>;

				};
				trx2_ad9081_tx_fddc_chan2: channel@2 {
					reg = <2>;
					adi,gain = <AD9081_GAIN>; /* value * 10^(gain_dB/20) */
					adi,nco-frequency-shift-hz =  /bits/ 64 <AD9081_TX_CHAN_NCO_SHIFT>;

				};
				trx2_ad9081_tx_fddc_chan3: channel@3 {
					reg = <3>;
					adi,gain = <AD9081_GAIN>; /* value * 10^(gain_dB/20) */
					adi,nco-frequency-shift-hz =  /bits/ 64 <AD9081_TX_CHAN_NCO_SHIFT>;

				};

			};

			adi,jesd-links {
				#size-cells = <0>;
				#address-cells = <1>;

				trx2_ad9081_tx_jesd_l0: link@0 {
					#address-cells = <1>;
					#size-cells = <0>;
					reg = <0>;

					adi,logical-lane-mapping = /bits/ 8 <0 1 2 3 4 5 6 7>;

					adi,link-mode = <AD9081_TX_JESD_MODE>;			/* JESD Quick Configuration Mode */
					adi,subclass = <AD9081_TX_JESD_SUBCLASS>;			/* JESD SUBCLASS 0,1,2 */
					adi,version = <AD9081_TX_JESD_VERSION>;			/* JESD VERSION 0=204A,1=204B,2=204C */
					adi,dual-link = <0>;			/* JESD Dual Link Mode */

					adi,converters-per-device = <AD9081_TX_JESD_M>;	/* JESD M */
					adi,octets-per-frame = <AD9081_TX_JESD_F>;		/* JESD F */

					adi,frames-per-multiframe = <AD9081_TX_JESD_K>;	/* JESD K */
					adi,converter-resolution = <AD9081_TX_JESD_N>;	/* JESD N */
					adi,bits-per-sample = <AD9081_TX_JESD_N>;		/* JESD NP' */
					adi,control-bits-per-sample = <AD9081_TX_JESD_CS>;	/* JESD CS */
					adi,lanes-per-device = <AD9081_TX_JESD_L>;		/* JESD L */
					adi,samples-per-converter-per-frame = <AD9081_TX_JESD_S>; /* JESD S */
					adi,high-density = <AD9081_TX_JESD_HD>;			/* JESD HD */
				};
			};
		};

		adi,rx-adcs {
			#size-cells = <0>;
			#address-cells = <1>;

			adi,adc-frequency-hz = /bits/ 64 <AD9081_ADC_FREQUENCY>;
			adi,nyquist-zone = <AD9081_ADC_NYQUIST_ZONE_EVEN>;

			adi,main-data-paths {
				#address-cells = <1>;
				#size-cells = <0>;


				trx2_ad9081_adc0: adc@0 {
					reg = <0>;
					adi,decimation = <AD9081_RX_MAIN_DECIMATION>;
					adi,nco-frequency-shift-hz =  /bits/ 64 <AD9081_RX_MAIN_NCO_SHIFT>;
					adi,nco-mode = <AD9081_ADC_NCO_VIF>;
					//adi,crossbar-select = <&trx2_ad9081_rx_fddc_chan0>, <&trx2_ad9081_rx_fddc_chan2>; /* Static for now */
				};
				trx2_ad9081_adc1: adc@1 {
					reg = <1>;
					adi,decimation = <AD9081_RX_MAIN_DECIMATION>;
					adi,nco-frequency-shift-hz =  /bits/ 64 <AD9081_RX_MAIN_NCO_SHIFT>;
					adi,nco-mode = <AD9081_ADC_NCO_VIF>;
					//adi,crossbar-select = <&trx2_ad9081_rx_fddc_chan1>, <&trx2_ad9081_rx_fddc_chan3>; /* Static for now */
				};
				trx2_ad9081_adc2: adc@2 {
					reg = <2>;
					adi,decimation = <AD9081_RX_MAIN_DECIMATION>;
					adi,nco-frequency-shift-hz =  /bits/ 64 <AD9081_RX_MAIN_NCO_SHIFT>;
					adi,nco-mode = <AD9081_ADC_NCO_VIF>;
					//adi,crossbar-select = <&trx2_ad9081_rx_fddc_chan4>, <&trx2_ad9081_rx_fddc_chan6>; /* Static for now */
				};
				trx2_ad9081_adc3: adc@3 {
					reg = <3>;
					adi,decimation = <AD9081_RX_MAIN_DECIMATION>;
					adi,nco-frequency-shift-hz =  /bits/ 64 <AD9081_RX_MAIN_NCO_SHIFT>;
					adi,nco-mode = <AD9081_ADC_NCO_VIF>;
					//adi,crossbar-select = <&trx2_ad9081_rx_fddc_chan5>, <&trx2_ad9081_rx_fddc_chan7>; /* Static for now */
				};
			};

			adi,channelizer-paths {
				#address-cells = <1>;
				#size-cells = <0>;


				trx2_ad9081_rx_fddc_chan0: channel@0 {
					reg = <0>;
					adi,decimation = <AD9081_RX_CHAN_DECIMATION>;
					adi,gain = <AD9081_GAIN>; /* value * 10^(gain_dB/20) */
					adi,nco-frequency-shift-hz =  /bits/ 64 <AD9081_RX_CHAN_NCO_SHIFT>;

				};
				trx2_ad9081_rx_fddc_chan1: channel@1 {
					reg = <1>;
					adi,decimation = <AD9081_RX_CHAN_DECIMATION>;
					adi,gain = <AD9081_GAIN>; /* value * 10^(gain_dB/20) */
					adi,nco-frequency-shift-hz =  /bits/ 64 <AD9081_RX_CHAN_NCO_SHIFT>;

				};
				trx2_ad9081_rx_fddc_chan4: channel@4 {
					reg = <4>;
					adi,decimation = <AD9081_RX_CHAN_DECIMATION>;
					adi,gain = <AD9081_GAIN>; /* value * 10^(gain_dB/20) */
					adi,nco-frequency-shift-hz =  /bits/ 64 <AD9081_RX_CHAN_NCO_SHIFT>;

				};
				trx2_ad9081_rx_fddc_chan5: channel@5 {
					reg = <5>;
					adi,decimation = <AD9081_RX_CHAN_DECIMATION>;
					adi,gain = <AD9081_GAIN>; /* value * 10^(gain_dB/20) */
					adi,nco-frequency-shift-hz =  /bits/ 64 <AD9081_RX_CHAN_NCO_SHIFT>;

				};
			};

			adi,jesd-links {
				#size-cells = <0>;
				#address-cells = <1>;

				trx2_ad9081_rx_jesd_l0: link@0 {
					reg = <0>;
					adi,converter-select =
						<&trx2_ad9081_rx_fddc_chan0 FDDC_I>, <&trx2_ad9081_rx_fddc_chan0 FDDC_Q>,
						<&trx2_ad9081_rx_fddc_chan1 FDDC_I>, <&trx2_ad9081_rx_fddc_chan1 FDDC_Q>,
						<&trx2_ad9081_rx_fddc_chan4 FDDC_I>, <&trx2_ad9081_rx_fddc_chan4 FDDC_Q>,
						<&trx2_ad9081_rx_fddc_chan5 FDDC_I>, <&trx2_ad9081_rx_fddc_chan5 FDDC_Q>;

					adi,logical-lane-mapping = /bits/ 8 <0 1 2 3 4 5 6 7>;

					adi,link-mode = <AD9081_RX_JESD_MODE>;			/* JESD Quick Configuration Mode */
					adi,subclass = <AD9081_RX_JESD_SUBCLASS>;			/* JESD SUBCLASS 0,1,2 */
					adi,version = <AD9081_RX_JESD_VERSION>;			/* JESD VERSION 0=204A,1=204B,2=204C */
					adi,dual-link = <0>;			/* JESD Dual Link Mode */
					adi,device-id = <2>;

					adi,converters-per-device = <AD9081_RX_JESD_M>;	/* JESD M */
					adi,octets-per-frame = <AD9081_RX_JESD_F>;		/* JESD F */

					adi,frames-per-multiframe = <AD9081_RX_JESD_K>;	/* JESD K */
					adi,converter-resolution = <AD9081_RX_JESD_N>;	/* JESD N */
					adi,bits-per-sample = <AD9081_RX_JESD_NP>;		/* JESD NP' */
					adi,control-bits-per-sample = <AD9081_RX_JESD_CS>;	/* JESD CS */
					adi,lanes-per-device = <AD9081_RX_JESD_L>;		/* JESD L */
					adi,samples-per-converter-per-frame = <AD9081_RX_JESD_S>; /* JESD S */
					adi,high-density = <AD9081_RX_JESD_HD>;			/* JESD HD */
				};
			};
		};
	};

	trx3_ad9081: ad9081@3 {
		#address-cells = <1>;
		#size-cells = <0>;
		compatible = "adi,ad9081";
		reg = <3>;
		spi-max-frequency = <AD9081_SPI_MAX_SPEED_HZ>;

		/* Clocks */
		clocks = <&axi_ad9081_rx_jesd>, <&axi_ad9081_tx_jesd>,
			<&adf4371_clk3 2>, <&hmc7043 8>, <&hmc7043 1>, <&hmc7043 9>;

		clock-names = "jesd_rx_clk", "jesd_tx_clk",
			"dev_clk", "fmc_clk", "sysref_dev_clk",
			"sysref_fmc_clk";

		clock-output-names = "rx_sampl_clk", "tx_sampl_clk";
		#clock-cells = <1>;
		dev_clk-clock-scales = <1 10>;

		adi,multidevice-instance-count = <4>;
		adi,jesd-sync-pins-01-swap-enable;
		//adi,lmfc-delay-dac-clk-cycles = <3>;

		adi,tx-dacs {
			#size-cells = <0>;
			#address-cells = <1>;

			adi,dac-frequency-hz = /bits/ 64 <AD9081_DAC_FREQUENCY>;

			adi,main-data-paths {
				#address-cells = <1>;
				#size-cells = <0>;

				adi,interpolation = <AD9081_TX_MAIN_INTERPOLATION>;

				trx3_ad9081_dac0: dac@0 {
					reg = <0>;
					adi,crossbar-select = <&trx3_ad9081_tx_fddc_chan0>;
					adi,nco-frequency-shift-hz = /bits/ 64 <AD9081_TX_MAIN_NCO_SHIFT>; /* 100 MHz */
				};
				trx3_ad9081_dac1: dac@1 {
					reg = <1>;
					adi,crossbar-select = <&trx3_ad9081_tx_fddc_chan1>;
					adi,nco-frequency-shift-hz = /bits/ 64 <AD9081_TX_MAIN_NCO_SHIFT>; /* 200 MHz */
				};
				trx3_ad9081_dac2: dac@2 {
					reg = <2>;
					adi,crossbar-select = <&trx3_ad9081_tx_fddc_chan2>; /* All 4 channels @ dac2 */
					adi,nco-frequency-shift-hz = /bits/ 64 <AD9081_TX_MAIN_NCO_SHIFT>;  /* 300 MHz */
				};
				trx3_ad9081_dac3: dac@3 {
					reg = <3>;
					adi,crossbar-select = <&trx3_ad9081_tx_fddc_chan3>; /* All 4 channels @ dac2 */
					adi,nco-frequency-shift-hz = /bits/ 64 <AD9081_TX_MAIN_NCO_SHIFT>; /* 400 MHz */
				};
			};

			adi,channelizer-paths {
				#address-cells = <1>;
				#size-cells = <0>;
				adi,interpolation = <AD9081_TX_CHAN_INTERPOLATION>;

				trx3_ad9081_tx_fddc_chan0: channel@0 {
					reg = <0>;
					adi,gain = <AD9081_GAIN>; /* value * 10^(gain_dB/20) */
					adi,nco-frequency-shift-hz =  /bits/ 64 <AD9081_TX_CHAN_NCO_SHIFT>;

				};
				trx3_ad9081_tx_fddc_chan1: channel@1 {
					reg = <1>;
					adi,gain = <AD9081_GAIN>; /* value * 10^(gain_dB/20) */
					adi,nco-frequency-shift-hz =  /bits/ 64 <AD9081_TX_CHAN_NCO_SHIFT>;

				};
				trx3_ad9081_tx_fddc_chan2: channel@2 {
					reg = <2>;
					adi,gain = <AD9081_GAIN>; /* value * 10^(gain_dB/20) */
					adi,nco-frequency-shift-hz =  /bits/ 64 <AD9081_TX_CHAN_NCO_SHIFT>;

				};
				trx3_ad9081_tx_fddc_chan3: channel@3 {
					reg = <3>;
					adi,gain = <AD9081_GAIN>; /* value * 10^(gain_dB/20) */
					adi,nco-frequency-shift-hz =  /bits/ 64 <AD9081_TX_CHAN_NCO_SHIFT>;

				};

			};

			adi,jesd-links {
				#size-cells = <0>;
				#address-cells = <1>;

				trx3_ad9081_tx_jesd_l0: link@0 {
					#address-cells = <1>;
					#size-cells = <0>;
					reg = <0>;

					adi,logical-lane-mapping = /bits/ 8 <0 1 2 3 4 5 6 7>;

					adi,link-mode = <AD9081_TX_JESD_MODE>;			/* JESD Quick Configuration Mode */
					adi,subclass = <AD9081_TX_JESD_SUBCLASS>;			/* JESD SUBCLASS 0,1,2 */
					adi,version = <AD9081_TX_JESD_VERSION>;			/* JESD VERSION 0=204A,1=204B,2=204C */
					adi,dual-link = <0>;			/* JESD Dual Link Mode */

					adi,converters-per-device = <AD9081_TX_JESD_M>;	/* JESD M */
					adi,octets-per-frame = <AD9081_TX_JESD_F>;		/* JESD F */

					adi,frames-per-multiframe = <AD9081_TX_JESD_K>;	/* JESD K */
					adi,converter-resolution = <AD9081_TX_JESD_N>;	/* JESD N */
					adi,bits-per-sample = <AD9081_TX_JESD_N>;		/* JESD NP' */
					adi,control-bits-per-sample = <AD9081_TX_JESD_CS>;	/* JESD CS */
					adi,lanes-per-device = <AD9081_TX_JESD_L>;		/* JESD L */
					adi,samples-per-converter-per-frame = <AD9081_TX_JESD_S>; /* JESD S */
					adi,high-density = <AD9081_TX_JESD_HD>;			/* JESD HD */
				};
			};
		};

		adi,rx-adcs {
			#size-cells = <0>;
			#address-cells = <1>;

			adi,adc-frequency-hz = /bits/ 64 <AD9081_ADC_FREQUENCY>;
			adi,nyquist-zone = <AD9081_ADC_NYQUIST_ZONE_EVEN>;

			adi,main-data-paths {
				#address-cells = <1>;
				#size-cells = <0>;


				trx3_ad9081_adc0: adc@0 {
					reg = <0>;
					adi,decimation = <AD9081_RX_MAIN_DECIMATION>;
					adi,nco-frequency-shift-hz =  /bits/ 64 <AD9081_RX_MAIN_NCO_SHIFT>;
					adi,nco-mode = <AD9081_ADC_NCO_VIF>;
					//adi,crossbar-select = <&trx3_ad9081_rx_fddc_chan0>, <&trx3_ad9081_rx_fddc_chan2>; /* Static for now */
				};
				trx3_ad9081_adc1: adc@1 {
					reg = <1>;
					adi,decimation = <AD9081_RX_MAIN_DECIMATION>;
					adi,nco-frequency-shift-hz =  /bits/ 64 <AD9081_RX_MAIN_NCO_SHIFT>;
					adi,nco-mode = <AD9081_ADC_NCO_VIF>;
					//adi,crossbar-select = <&trx3_ad9081_rx_fddc_chan1>, <&trx3_ad9081_rx_fddc_chan3>; /* Static for now */
				};
				trx3_ad9081_adc2: adc@2 {
					reg = <2>;
					adi,decimation = <AD9081_RX_MAIN_DECIMATION>;
					adi,nco-frequency-shift-hz =  /bits/ 64 <AD9081_RX_MAIN_NCO_SHIFT>;
					adi,nco-mode = <AD9081_ADC_NCO_VIF>;
					//adi,crossbar-select = <&trx3_ad9081_rx_fddc_chan4>, <&trx3_ad9081_rx_fddc_chan6>; /* Static for now */
				};
				trx3_ad9081_adc3: adc@3 {
					reg = <3>;
					adi,decimation = <AD9081_RX_MAIN_DECIMATION>;
					adi,nco-frequency-shift-hz =  /bits/ 64 <AD9081_RX_MAIN_NCO_SHIFT>;
					adi,nco-mode = <AD9081_ADC_NCO_VIF>;
					//adi,crossbar-select = <&trx3_ad9081_rx_fddc_chan5>, <&trx3_ad9081_rx_fddc_chan7>; /* Static for now */
				};
			};

			adi,channelizer-paths {
				#address-cells = <1>;
				#size-cells = <0>;


				trx3_ad9081_rx_fddc_chan0: channel@0 {
					reg = <0>;
					adi,decimation = <AD9081_RX_CHAN_DECIMATION>;
					adi,gain = <AD9081_GAIN>; /* value * 10^(gain_dB/20) */
					adi,nco-frequency-shift-hz =  /bits/ 64 <AD9081_RX_CHAN_NCO_SHIFT>;

				};
				trx3_ad9081_rx_fddc_chan1: channel@1 {
					reg = <1>;
					adi,decimation = <AD9081_RX_CHAN_DECIMATION>;
					adi,gain = <AD9081_GAIN>; /* value * 10^(gain_dB/20) */
					adi,nco-frequency-shift-hz =  /bits/ 64 <AD9081_RX_CHAN_NCO_SHIFT>;

				};
				trx3_ad9081_rx_fddc_chan4: channel@4 {
					reg = <4>;
					adi,decimation = <AD9081_RX_CHAN_DECIMATION>;
					adi,gain = <AD9081_GAIN>; /* value * 10^(gain_dB/20) */
					adi,nco-frequency-shift-hz =  /bits/ 64 <AD9081_RX_CHAN_NCO_SHIFT>;

				};
				trx3_ad9081_rx_fddc_chan5: channel@5 {
					reg = <5>;
					adi,decimation = <AD9081_RX_CHAN_DECIMATION>;
					adi,gain = <AD9081_GAIN>; /* value * 10^(gain_dB/20) */
					adi,nco-frequency-shift-hz =  /bits/ 64 <AD9081_RX_CHAN_NCO_SHIFT>;

				};
			};

			adi,jesd-links {
				#size-cells = <0>;
				#address-cells = <1>;

				trx3_ad9081_rx_jesd_l0: link@0 {
					reg = <0>;
					adi,converter-select =
						<&trx3_ad9081_rx_fddc_chan0 FDDC_I>, <&trx3_ad9081_rx_fddc_chan0 FDDC_Q>,
						<&trx3_ad9081_rx_fddc_chan1 FDDC_I>, <&trx3_ad9081_rx_fddc_chan1 FDDC_Q>,
						<&trx3_ad9081_rx_fddc_chan4 FDDC_I>, <&trx3_ad9081_rx_fddc_chan4 FDDC_Q>,
						<&trx3_ad9081_rx_fddc_chan5 FDDC_I>, <&trx3_ad9081_rx_fddc_chan5 FDDC_Q>;

					adi,logical-lane-mapping = /bits/ 8 <0 1 2 3 4 5 6 7>;

					adi,link-mode = <AD9081_RX_JESD_MODE>;			/* JESD Quick Configuration Mode */
					adi,subclass = <AD9081_RX_JESD_SUBCLASS>;			/* JESD SUBCLASS 0,1,2 */
					adi,version = <AD9081_RX_JESD_VERSION>;			/* JESD VERSION 0=204A,1=204B,2=204C */
					adi,dual-link = <0>;			/* JESD Dual Link Mode */
					adi,device-id = <3>;

					adi,converters-per-device = <AD9081_RX_JESD_M>;	/* JESD M */
					adi,octets-per-frame = <AD9081_RX_JESD_F>;		/* JESD F */

					adi,frames-per-multiframe = <AD9081_RX_JESD_K>;	/* JESD K */
					adi,converter-resolution = <AD9081_RX_JESD_N>;	/* JESD N */
					adi,bits-per-sample = <AD9081_RX_JESD_NP>;		/* JESD NP' */
					adi,control-bits-per-sample = <AD9081_RX_JESD_CS>;	/* JESD CS */
					adi,lanes-per-device = <AD9081_RX_JESD_L>;		/* JESD L */
					adi,samples-per-converter-per-frame = <AD9081_RX_JESD_S>; /* JESD S */
					adi,high-density = <AD9081_RX_JESD_HD>;			/* JESD HD */
				};
			};
		};
	};

};

&trx0_ad9081 {
	reset-gpios = <&axi_gpio 41 0>;
	rx2-enable-gpios = <&axi_gpio 49 0>;
	rx1-enable-gpios = <&axi_gpio 45 0>;
	tx2-enable-gpios = <&axi_gpio 57 0>;
	tx1-enable-gpios = <&axi_gpio 53 0>;
};

&trx1_ad9081 {
	reset-gpios = <&axi_gpio 42 0>;
	rx2-enable-gpios = <&axi_gpio 50 0>;
	rx1-enable-gpios = <&axi_gpio 46 0>;
	tx2-enable-gpios = <&axi_gpio 58 0>;
	tx1-enable-gpios = <&axi_gpio 54 0>;
};

&trx2_ad9081 {
	reset-gpios = <&axi_gpio 43 0>;
	rx2-enable-gpios = <&axi_gpio 51 0>;
	rx1-enable-gpios = <&axi_gpio 47 0>;
	tx2-enable-gpios = <&axi_gpio 59 0>;
	tx1-enable-gpios = <&axi_gpio 55 0>;
};

&trx3_ad9081 {
	reset-gpios = <&axi_gpio 44 0>;
	rx2-enable-gpios = <&axi_gpio 52 0>;
	rx1-enable-gpios = <&axi_gpio 48 0>;
	tx2-enable-gpios = <&axi_gpio 60 0>;
	tx1-enable-gpios = <&axi_gpio 56 0>;
};
